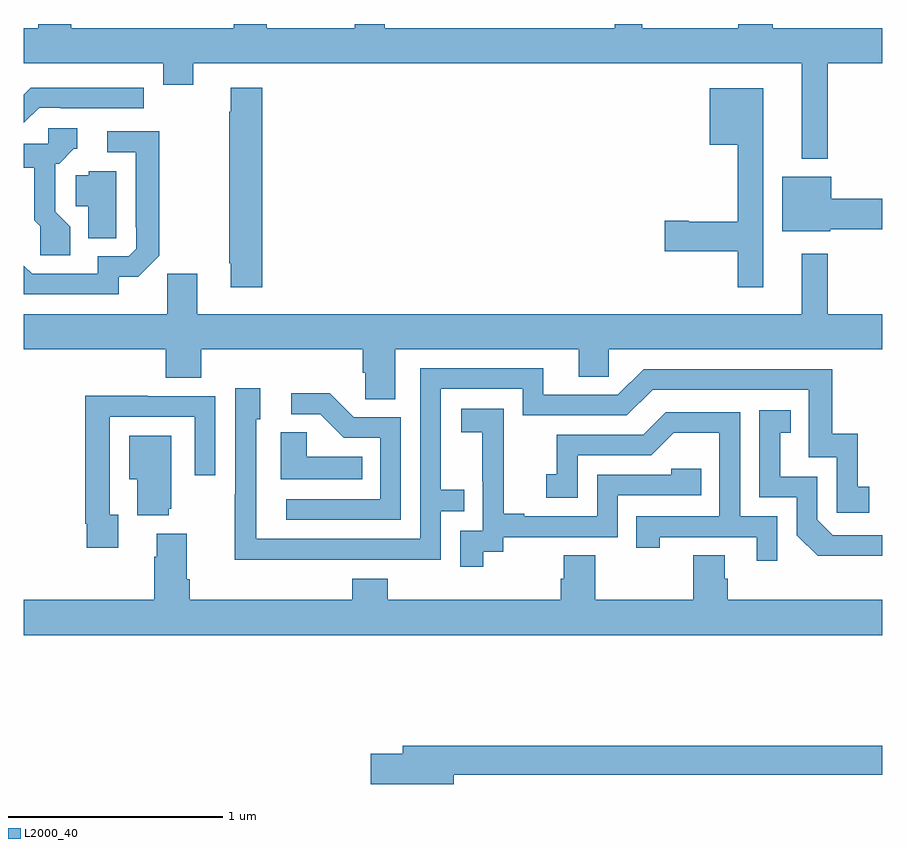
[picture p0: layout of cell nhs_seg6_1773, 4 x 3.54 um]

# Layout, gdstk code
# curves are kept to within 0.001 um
import gdstk
lib = gdstk.Library(unit=1e-6, precision=1e-09)
def P(c, l, *ps):  # polygons
    for p in ps: c.add(gdstk.Polygon(p, *l))
L2000_40 = (2000, 40)

nhs_seg6_1773 = lib.new_cell('nhs_seg6_1773')
P(nhs_seg6_1773, L2000_40, [(220.747,967.316),(221,967.316),(221,967.48),(220.49,967.48),(220.49,967.5),(220.33,967.5),(220.33,967.48),(219.883,967.48),(219.883,967.5),(219.755,967.5),(219.755,967.48),(218.683,967.48),(218.683,967.5),(218.543,967.5),(218.543,967.48),(218.131,967.48),(218.131,967.5),(217.979,967.5),(217.979,967.48),(217.22,967.48),(217.22,967.5),(217.067,967.5),(217.067,967.48),(217,967.48),(217,967.316),(217.649,967.316),(217.649,967.217),(217.789,967.217),(217.789,967.316),(220.625,967.316),(220.625,966.872),(220.747,966.872)],
  [(217.071,967.11),(217.171,967.11),(217.171,967.107),(217.558,967.107),(217.558,967.203),(217.229,967.203),(217.229,967.204),(217.033,967.204),(217,967.171),(217,967.039)],
  [(218.111,967.204),(217.964,967.204),(217.964,967.091),(217.957,967.091),(217.957,966.385),(217.964,966.385),(217.964,966.273),(218.111,966.273)],
  [(220.447,967.201),(220.196,967.201),(220.196,966.938),(220.326,966.938),(220.326,966.579),(220.099,966.579),(220.099,966.584),(219.987,966.584),(219.987,966.442),(220.326,966.442),(220.326,966.273),(220.447,966.273)],
  [(217.216,966.554),(217.146,966.624),(217.146,966.849),(217.164,966.849),(217.233,966.918),(217.249,966.918),(217.249,967.014),(217.113,967.014),(217.113,966.942),(217,966.942),(217,966.831),(217.048,966.831),(217.048,966.586),(217.077,966.557),(217.077,966.423),(217.216,966.423)],
  [(217.443,966.321),(217.532,966.321),(217.632,966.42),(217.632,966.611),(217.63,966.611),(217.63,966.999),(217.389,966.999),(217.389,966.903),(217.521,966.903),(217.521,966.553),(217.524,966.553),(217.524,966.453),(217.488,966.417),(217.344,966.417),(217.344,966.336),(217.038,966.336),(217,966.374),(217,966.24),(217.443,966.24)],
  [(217.431,966.814),(217.302,966.814),(217.302,966.795),(217.242,966.795),(217.242,966.65),(217.301,966.65),(217.301,966.502),(217.431,966.502)],
  [(220.758,966.544),(221,966.544),(221,966.686),(220.762,966.686),(220.762,966.787),(220.535,966.787),(220.535,966.533),(220.758,966.533)],
  [(218.731,965.984),(219.587,965.984),(219.587,965.857),(219.726,965.857),(219.726,965.984),(221,965.984),(221,966.148),(220.747,966.148),(220.747,966.43),(220.625,966.43),(220.625,966.148),(217.807,966.148),(217.807,966.336),(217.669,966.336),(217.669,966.148),(217,966.148),(217,965.984),(217.661,965.984),(217.661,965.851),(217.826,965.851),(217.826,965.984),(218.579,965.984),(218.579,965.875),(218.592,965.875),(218.592,965.752),(218.731,965.752)],
  [(218.447,965.004),(218.943,965.004),(218.943,965.229),(219.053,965.229),(219.053,965.33),(218.943,965.33),(218.943,965.799),(219.324,965.799),(219.324,965.676),(219.81,965.676),(219.93,965.796),(220.659,965.796),(220.659,965.481),(220.788,965.481),(220.788,965.223),(220.939,965.223),(220.939,965.343),(220.886,965.343),(220.886,965.59),(220.768,965.59),(220.768,965.892),(219.888,965.892),(219.768,965.772),(219.421,965.772),(219.421,965.895),(218.847,965.895),(218.847,965.1),(218.082,965.1),(218.082,965.658),(218.101,965.658),(218.101,965.803),(217.986,965.803),(217.986,965.309),(217.984,965.309),(217.984,965.003)],
  [(218.757,965.667),(218.538,965.667),(218.425,965.78),(218.247,965.78),(218.247,965.682),(218.381,965.682),(218.492,965.571),(218.661,965.571),(218.661,965.286),(218.223,965.286),(218.223,965.19),(218.757,965.19)],
  [(217.441,965.214),(217.401,965.214),(217.401,965.67),(217.797,965.67),(217.797,965.397),(217.893,965.397),(217.893,965.766),(217.577,965.766),(217.577,965.768),(217.285,965.768),(217.285,965.17),(217.293,965.17),(217.293,965.058),(217.441,965.058)],
  [(219.142,965.041),(219.234,965.041),(219.234,965.109),(219.768,965.109),(219.768,965.304),(220.157,965.304),(220.157,965.427),(220.017,965.427),(220.017,965.4),(219.672,965.4),(219.672,965.205),(219.331,965.205),(219.331,965.218),(219.236,965.218),(219.236,965.501),(219.237,965.501),(219.237,965.707),(219.039,965.707),(219.039,965.597),(219.137,965.597),(219.137,965.369),(219.138,965.369),(219.138,965.139),(219.033,965.139),(219.033,964.971),(219.142,964.971)],
  [(221,965.118),(220.77,965.118),(220.698,965.19),(220.698,965.391),(220.525,965.391),(220.525,965.595),(220.574,965.595),(220.574,965.701),(220.428,965.701),(220.428,965.295),(220.602,965.295),(220.602,965.118),(220.7,965.021),(221,965.021)],
  [(220.512,965.205),(220.338,965.205),(220.338,965.691),(219.992,965.691),(219.887,965.586),(219.484,965.586),(219.484,965.401),(219.435,965.401),(219.435,965.292),(219.582,965.292),(219.582,965.49),(219.924,965.49),(220.028,965.594),(220.242,965.594),(220.242,965.205),(219.853,965.205),(219.853,965.058),(219.964,965.058),(219.964,965.109),(220.415,965.109),(220.415,964.998),(220.512,964.998)],
  [(218.576,965.482),(218.319,965.482),(218.319,965.597),(218.198,965.597),(218.198,965.378),(218.576,965.378)],
  [(217.676,965.241),(217.687,965.241),(217.687,965.581),(217.49,965.581),(217.49,965.378),(217.529,965.378),(217.529,965.21),(217.676,965.21)],
  [(221,964.816),(220.28,964.816),(220.28,964.914),(220.267,964.914),(220.267,965.024),(220.12,965.024),(220.12,964.816),(219.663,964.816),(219.663,965.024),(219.515,965.024),(219.515,964.914),(219.503,964.914),(219.503,964.816),(218.696,964.816),(218.696,964.915),(218.531,964.915),(218.531,964.816),(217.772,964.816),(217.772,964.912),(217.759,964.912),(217.759,965.125),(217.619,965.125),(217.619,965.018),(217.607,965.018),(217.607,964.816),(217,964.816),(217,964.652),(221,964.652)],
  [(219.004,964),(221,964),(221,964.136),(218.765,964.136),(218.765,964.1),(218.616,964.1),(218.616,963.958),(219.004,963.958)])

lib.write_gds('nhs_seg6_1773.gds')
